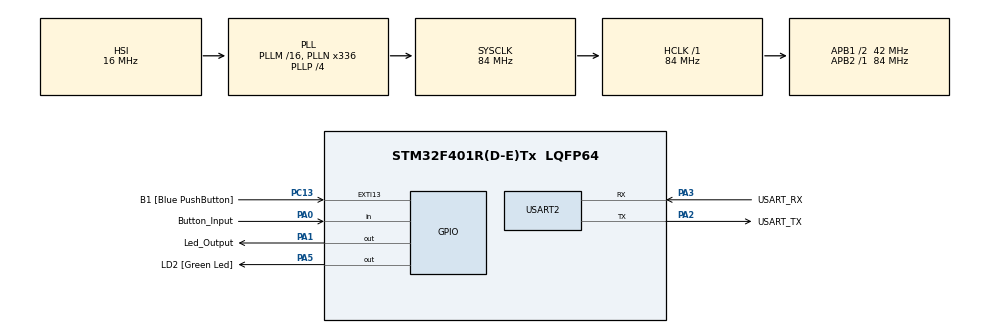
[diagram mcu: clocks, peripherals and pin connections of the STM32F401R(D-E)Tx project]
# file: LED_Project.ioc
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Mcu.Family=STM32F4
Mcu.Name=STM32F401R(D-E)Tx
Mcu.Package=LQFP64
NVIC.PriorityGroup=NVIC_PRIORITYGROUP_4
PA0-WKUP.GPIO_Label=Button_Input
PA0-WKUP.Signal=GPIO_Input
PA1.GPIO_Label=Led_Output
PA1.Signal=GPIO_Output
PA13.GPIO_Label=TMS
PA13.Mode=Trace_Asynchronous_SW
PA13.Signal=SYS_JTMS-SWDIO
PA14.GPIO_Label=TCK
PA14.Mode=Trace_Asynchronous_SW
PA14.Signal=SYS_JTCK-SWCLK
PA2.GPIO_Label=USART_TX
PA2.GPIO_Mode=GPIO_MODE_AF_PP
PA2.GPIO_PuPd=GPIO_NOPULL
PA2.GPIO_Speed=GPIO_SPEED_FREQ_LOW
PA2.Mode=Asynchronous
PA2.Signal=USART2_TX
PA3.GPIO_Label=USART_RX
PA3.GPIO_Mode=GPIO_MODE_AF_PP
PA3.GPIO_PuPd=GPIO_NOPULL
PA3.GPIO_Speed=GPIO_SPEED_FREQ_LOW
PA3.Mode=Asynchronous
PA3.Signal=USART2_RX
PA5.GPIO_Label=LD2 [Green Led]
PA5.GPIO_Mode=GPIO_MODE_OUTPUT_PP
PA5.GPIO_PuPd=GPIO_NOPULL
PA5.GPIO_Speed=GPIO_SPEED_FREQ_LOW
PA5.Signal=GPIO_Output
PB3.GPIO_Label=SWO
PB3.Mode=Trace_Asynchronous_SW
PB3.Signal=SYS_JTDO-SWO
PC13-ANTI_TAMP.GPIO_Label=B1 [Blue PushButton]
PC13-ANTI_TAMP.GPIO_ModeDefaultEXTI=GPIO_MODE_IT_FALLING
PC13-ANTI_TAMP.GPIO_PuPd=GPIO_NOPULL
PC13-ANTI_TAMP.Signal=GPXTI13
PC14-OSC32_IN.Mode=LSE-External-Oscillator
PC14-OSC32_IN.Signal=RCC_OSC32_IN
PC15-OSC32_OUT.Mode=LSE-External-Oscillator
PC15-OSC32_OUT.Signal=RCC_OSC32_OUT
PH0\ -\ OSC_IN.Mode=HSE-External-Clock-Source
PH0\ -\ OSC_IN.Signal=RCC_OSC_IN
PH1\ -\ OSC_OUT.Mode=HSE-External-Clock-Source
PH1\ -\ OSC_OUT.Signal=RCC_OSC_OUT
ProjectManager.HeapSize=0x200
ProjectManager.StackSize=0x400
ProjectManager.TargetToolchain=STM32CubeIDE
RCC.48MHZClocksFreq_Value=48000000
RCC.AHBFreq_Value=84000000
RCC.APB1CLKDivider=RCC_HCLK_DIV2
RCC.APB1Freq_Value=42000000
RCC.APB1TimFreq_Value=84000000
RCC.APB2Freq_Value=84000000
RCC.APB2TimFreq_Value=84000000
RCC.CortexFreq_Value=84000000
RCC.HCLKFreq_Value=84000000
RCC.HSE_VALUE=8000000
RCC.HSI_VALUE=16000000
RCC.PLLN=336
RCC.PLLP=RCC_PLLP_DIV4
RCC.PLLQ=7
RCC.SYSCLKFreq_VALUE=84000000
RCC.SYSCLKSource=RCC_SYSCLKSOURCE_PLLCLK
RCC.VCOOutputFreq_Value=336000000
USART2.VirtualMode=VM_ASYNC
board=NUCLEO-F401RE

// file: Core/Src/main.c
/* USER CODE BEGIN Header */
/**
  ******************************************************************************
  * @file           : main.c
  * @brief          : Main program body
  ******************************************************************************
  * @attention
  *
  * Copyright (c) 2026 STMicroelectronics.
  * All rights reserved.
  *
  * This software is licensed under terms that can be found in the LICENSE file
  * in the root directory of this software component.
  * If no LICENSE file comes with this software, it is provided AS-IS.
  *
  ******************************************************************************
  */
/* USER CODE END Header */
#include "main.h"
#include <stdint.h>

UART_HandleTypeDef huart2;

/* USER CODE BEGIN PV */

static Button_t System_Button;
static Led_t System_Led;
static app_t System_App;

/* USER CODE END PV */

void SystemClock_Config(void);
static void MX_GPIO_Init(void);
static void MX_USART2_UART_Init(void);
static uint8_t Button_ReadRaw(void);
static void Button_Init(Button_t* btn);
static void Led_Init(Led_t* led);
static void app_Init(app_t* app);
static void Button_Debounce(Button_t* btn, uint32_t now);
static void Calculate_Button_Event(Button_t* btn, uint32_t now);
static void App_Handle_Button_Event(Button_Event_t event,Led_t *led, app_t* app);
static void Led_task(Led_t* led, uint32_t now);

int main(void)
{

  /* MCU Configuration--------------------------------------------------------*/

  /* Reset of all peripherals, Initializes the Flash interface and the Systick. */
  HAL_Init();

  /* Configure the system clock */
  SystemClock_Config();

  /* Initialize all configured peripherals */
  MX_GPIO_Init();
  MX_USART2_UART_Init();

  /* USER CODE BEGIN 2 */

  Button_Init(&System_Button);
  Led_Init(&System_Led);
  app_Init(&System_App);

  /* USER CODE END 2 */

  /* Infinite loop */
  while (1)
  {

      uint32_t now = HAL_GetTick();

      Button_Debounce(&System_Button, now);

      Calculate_Button_Event(&System_Button, now);

      App_Handle_Button_Event(System_Button.currentButtonEvent,&System_Led, &System_App);

      System_Button.currentButtonEvent = BUTTON_NULL;

      Led_task(&System_Led, now);

  }
}

void SystemClock_Config(void)
{
  RCC_OscInitTypeDef RCC_OscInitStruct = {0};
  RCC_ClkInitTypeDef RCC_ClkInitStruct = {0};

  /** Configure the main internal regulator output voltage
  */
  __HAL_RCC_PWR_CLK_ENABLE();
  __HAL_PWR_VOLTAGESCALING_CONFIG(PWR_REGULATOR_VOLTAGE_SCALE2);

  /** Initializes the RCC Oscillators according to the specified parameters
  * in the RCC_OscInitTypeDef structure.
  */
  RCC_OscInitStruct.OscillatorType = RCC_OSCILLATORTYPE_HSI;
  RCC_OscInitStruct.HSIState = RCC_HSI_ON;
  RCC_OscInitStruct.HSICalibrationValue = RCC_HSICALIBRATION_DEFAULT;
  RCC_OscInitStruct.PLL.PLLState = RCC_PLL_ON;
  RCC_OscInitStruct.PLL.PLLSource = RCC_PLLSOURCE_HSI;
  RCC_OscInitStruct.PLL.PLLM = 16;
  RCC_OscInitStruct.PLL.PLLN = 336;
  RCC_OscInitStruct.PLL.PLLP = RCC_PLLP_DIV4;
  RCC_OscInitStruct.PLL.PLLQ = 7;
  if (HAL_RCC_OscConfig(&RCC_OscInitStruct) != HAL_OK)
  {
    Error_Handler();
  }

  /** Initializes the CPU, AHB and APB buses clocks
  */
  RCC_ClkInitStruct.ClockType = RCC_CLOCKTYPE_HCLK|RCC_CLOCKTYPE_SYSCLK
                              |RCC_CLOCKTYPE_PCLK1|RCC_CLOCKTYPE_PCLK2;
  RCC_ClkInitStruct.SYSCLKSource = RCC_SYSCLKSOURCE_PLLCLK;
  RCC_ClkInitStruct.AHBCLKDivider = RCC_SYSCLK_DIV1;
  RCC_ClkInitStruct.APB1CLKDivider = RCC_HCLK_DIV2;
  RCC_ClkInitStruct.APB2CLKDivider = RCC_HCLK_DIV1;

  if (HAL_RCC_ClockConfig(&RCC_ClkInitStruct, FLASH_LATENCY_2) != HAL_OK)
  {
    Error_Handler();
  }
}

static void MX_USART2_UART_Init(void)
{

  huart2.Instance = USART2;
  huart2.Init.BaudRate = 115200;
  huart2.Init.WordLength = UART_WORDLENGTH_8B;
  huart2.Init.StopBits = UART_STOPBITS_1;
  huart2.Init.Parity = UART_PARITY_NONE;
  huart2.Init.Mode = UART_MODE_TX_RX;
  huart2.Init.HwFlowCtl = UART_HWCONTROL_NONE;
  huart2.Init.OverSampling = UART_OVERSAMPLING_16;
  if (HAL_UART_Init(&huart2) != HAL_OK)
  {
    Error_Handler();
  }

}

static void MX_GPIO_Init(void)
{
  GPIO_InitTypeDef GPIO_InitStruct = {0};

  /* GPIO Ports Clock Enable */
  __HAL_RCC_GPIOC_CLK_ENABLE();
  __HAL_RCC_GPIOH_CLK_ENABLE();
  __HAL_RCC_GPIOA_CLK_ENABLE();
  __HAL_RCC_GPIOB_CLK_ENABLE();

  /*Configure GPIO pin Output Level */
  HAL_GPIO_WritePin(GPIOA, Led_Output_Pin|LD2_Pin, GPIO_PIN_RESET);

  /*Configure GPIO pin : B1_Pin */
  GPIO_InitStruct.Pin = B1_Pin;
  GPIO_InitStruct.Mode = GPIO_MODE_IT_FALLING;
  GPIO_InitStruct.Pull = GPIO_NOPULL;
  HAL_GPIO_Init(B1_GPIO_Port, &GPIO_InitStruct);

  /*Configure GPIO pin : Button_Input_Pin */
  GPIO_InitStruct.Pin = Button_Input_Pin;
  GPIO_InitStruct.Mode = GPIO_MODE_INPUT;
  GPIO_InitStruct.Pull = GPIO_NOPULL;
  HAL_GPIO_Init(Button_Input_GPIO_Port, &GPIO_InitStruct);

  /*Configure GPIO pins : Led_Output_Pin LD2_Pin */
  GPIO_InitStruct.Pin = Led_Output_Pin|LD2_Pin;
  GPIO_InitStruct.Mode = GPIO_MODE_OUTPUT_PP;
  GPIO_InitStruct.Pull = GPIO_NOPULL;
  GPIO_InitStruct.Speed = GPIO_SPEED_FREQ_LOW;
  HAL_GPIO_Init(GPIOA, &GPIO_InitStruct);

  /* USER CODE BEGIN MX_GPIO_Init_2 */
  GPIO_InitStruct.Pin = GPIO_PIN_0;
  GPIO_InitStruct.Mode = GPIO_MODE_INPUT;
  GPIO_InitStruct.Pull = GPIO_PULLDOWN;
  HAL_GPIO_Init(GPIOA, &GPIO_InitStruct);

  GPIO_InitStruct.Pin = GPIO_PIN_1;
  GPIO_InitStruct.Mode = GPIO_MODE_OUTPUT_PP;
  GPIO_InitStruct.Pull = GPIO_PULLDOWN;
  GPIO_InitStruct.Speed = GPIO_SPEED_FREQ_LOW;
  HAL_GPIO_Init(GPIOA, &GPIO_InitStruct);
  /* USER CODE END MX_GPIO_Init_2 */
}

/* USER CODE BEGIN 4 */

static uint8_t Button_ReadRaw(void){

    uint8_t newRawState = HAL_GPIO_ReadPin(GPIOA, GPIO_PIN_0);

    if (newRawState == GPIO_PIN_SET) {

        return 1u;

    }
    else {

        return 0u;

    }

}

static void Button_Init(Button_t *btn) {

     btn->rawState = 0u;
     btn->stableState = 0u;
     btn->lastStableState = 0u;

     btn->lastDebounceChangeTick = 0u;
     btn->newPressEventTick = 0u;
     btn->lastPressEventTick = 0u;

     btn->longClickFired = 0u;
     btn->doubleClickFired = 0u;
     btn->waitingForDoubleClick = 0u;

     btn->stableStatus = BUTTON_STATUS_EVENT_NONE;
     btn->currentButtonEvent = BUTTON_NULL;

}

static void Led_Init(Led_t* led) {

    led->ledTask = LED_OFF;

    led->ledSlowFlashTick = 0u;

    led->ledFastFlashTick = 0u;

}

static void app_Init(app_t* app) {

    app->ledTask = LED_OFF;

}

static void Button_Debounce(Button_t* btn, uint32_t now) {

    uint8_t newRawState = Button_ReadRaw();

    btn->stableStatus = BUTTON_STATUS_EVENT_NONE;

    if (newRawState != btn->rawState) {

        btn->lastDebounceChangeTick = now;

        btn->rawState = newRawState;

    }

    if (now - btn->lastDebounceChangeTick > DEBOUNCE_MS) {

        if (btn->rawState != btn->stableState) {

            btn->lastStableState = btn->stableState;

            btn->stableState = btn->rawState;

            if (btn->stableState == 1u && btn->lastStableState == 0u) {

                btn->stableStatus = BUTTON_STATUS_EVENT_STABLE_PRESSED;

            }
            else if (btn->stableState == 0u && btn->lastStableState == 1u) {

                btn->stableStatus = BUTTON_STATUS_EVENT_STABLE_RELEASED;

            }

        }

    }

}

static void Calculate_Button_Event(Button_t *btn, uint32_t now) {

    if (btn->stableStatus == BUTTON_STATUS_EVENT_STABLE_PRESSED) {

        btn->longClickFired = 0u;

        btn->newPressEventTick = now;

        if (btn->waitingForDoubleClick) {

            btn->waitingForDoubleClick = 0u;

            btn->doubleClickFired = 1u;

            btn->lastPressEventTick = 0u;

            btn->currentButtonEvent = BUTTON_DOUBLE_CLICK;

        }

    }

    if (btn->stableStatus == BUTTON_STATUS_EVENT_STABLE_RELEASED) {

        if (btn->doubleClickFired) {

            btn->doubleClickFired = 0u;

        }else if(!btn->longClickFired) {

            btn->waitingForDoubleClick = 1u;

            btn->lastPressEventTick = now;

        }

    }

    if (btn->stableState == 1u) {

        if (!btn->longClickFired && now - btn->newPressEventTick > LONG_CLICK_DURATION) {

            btn->newPressEventTick = 0u;

            btn->longClickFired = 1u;

            btn->currentButtonEvent = BUTTON_LONG_CLICK;

        }

    }

    if (btn->stableState == 0) {

        if (btn->waitingForDoubleClick && now - btn->lastPressEventTick > DOUBLE_CLICK_WINDOW_DURATION) {

                btn->waitingForDoubleClick = 0u;

                btn->lastPressEventTick = 0u;

                btn->currentButtonEvent = BUTTON_SHORT_CLICK;

        }

    }

}

static void App_Handle_Button_Event(Button_Event_t event, Led_t *led, app_t *app) {

    app->ledTask = led->ledTask;

    Led_Task_t currentLedTask = app->ledTask;

    switch (event) {

    case BUTTON_SHORT_CLICK:

        switch (currentLedTask) {

        case LED_ON :

            led->ledTask = LED_SLOW_FLASH;
            break;

        case LED_SLOW_FLASH:

            led->ledTask = LED_FAST_FLASH;
            break;

        case LED_FAST_FLASH:

            led->ledTask = LED_OFF;
            break;

        case LED_OFF:

            led->ledTask = LED_ON;
            break;

        default :

            break;

        }

        break;

    case BUTTON_LONG_CLICK:

        led->ledTask = LED_OFF;

        break;

    case BUTTON_DOUBLE_CLICK:

        led->ledTask = LED_FAST_FLASH;

        break;

    case BUTTON_NULL:

        break;

    default:

        break;
    }

}

static void Led_task(Led_t *led, uint32_t now) {

    Led_Task_t ledTask = led->ledTask;

    switch (ledTask) {

    case LED_ON:

        HAL_GPIO_WritePin(GPIOA, GPIO_PIN_1, GPIO_PIN_SET);
        break;

    case LED_OFF:

        HAL_GPIO_WritePin(GPIOA, GPIO_PIN_1, GPIO_PIN_RESET);
        break;

    case LED_SLOW_FLASH:

        if (now - led->ledSlowFlashTick >= LED_SLOW_FLASH_PERIOD) {

            led->ledSlowFlashTick = now;

            HAL_GPIO_TogglePin(GPIOA, GPIO_PIN_1);

        }

        break;

    case LED_FAST_FLASH:

        if (now - led->ledFastFlashTick >= LED_FAST_FLASH_PERIOD) {

            led->ledFastFlashTick = now;

            HAL_GPIO_TogglePin(GPIOA, GPIO_PIN_1);

        }

        break;

    default:

        break;

    }

}

/* USER CODE END 4 */

void Error_Handler(void)
{
  __disable_irq();
  while (1)
  {
  }
}
